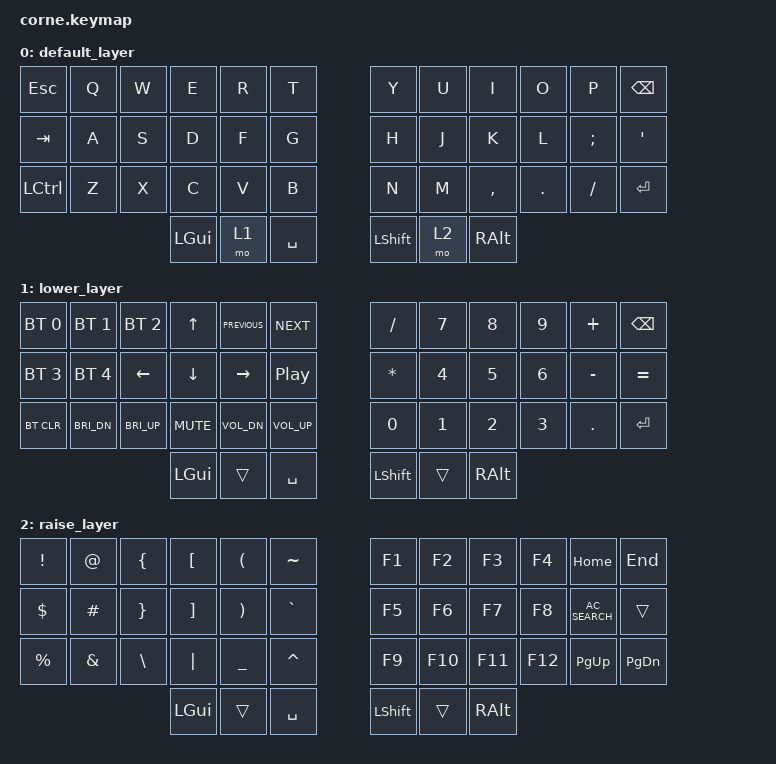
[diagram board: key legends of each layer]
/*
 * Copyright (c) 2020 The ZMK Contributors
 *
 * SPDX-License-Identifier: MIT
 */

#include <behaviors.dtsi>
#include <dt-bindings/zmk/bt.h>
#include <dt-bindings/zmk/keys.h>

/ {
    keymap {
        compatible = "zmk,keymap";

        default_layer {
            // -----------------------------------------------------------------------------------------
            // |  TAB |  Q  |  W  |  E  |  R  |  T  |   |  Y  |  U   |  I  |  O  |  P  | BKSP |
            // | CTRL |  A  |  S  |  D  |  F  |  G  |   |  H  |  J   |  K  |  L  |  ;  |  '   |
            // | SHFT |  Z  |  X  |  C  |  V  |  B  |   |  N  |  M   |  ,  |  .  |  /  | ESC  |
            //                    | GUI | LWR | SPC |   | ENT | RSE  | ALT |

            bindings = <
&kp ESC           &kp Q  &kp W  &kp E     &kp R  &kp T        &kp Y           &kp U  &kp I      &kp O    &kp P     &kp BSPC
&kp TAB           &kp A  &kp S  &kp D     &kp F  &kp G        &kp H           &kp J  &kp K      &kp L    &kp SEMI  &kp SQT
&kp LEFT_CONTROL  &kp Z  &kp X  &kp C     &kp V  &kp B        &kp N           &kp M  &kp COMMA  &kp DOT  &kp FSLH  &kp ENTER
                                &kp LGUI  &mo 1  &kp SPACE    &kp LEFT_SHIFT  &mo 2  &kp RALT
            >;
        };

        lower_layer {
            // -----------------------------------------------------------------------------------------
            // |  TAB |  1  |  2  |  3  |  4  |  5  |   |  6  |  7  |  8  |  9  |  0  | BKSP |
            // | BTCLR| BT1 | BT2 | BT3 | BT4 | BT5 |   | LFT | DWN |  UP | RGT |     |      |
            // | SHFT |     |     |     |     |     |   |     |     |     |     |     |      |
            //                    | GUI |     | SPC |   | ENT |     | ALT |

            bindings = <
&bt BT_SEL 0  &bt BT_SEL 1  &bt BT_SEL 2  &kp UP      &kp C_PREVIOUS  &kp C_NEXT          &kp SLASH       &kp N7  &kp N8    &kp N9  &kp PLUS   &kp BSPC
&bt BT_SEL 3  &bt BT_SEL 4  &kp LEFT      &kp DOWN    &kp RIGHT       &kp C_PLAY_PAUSE    &kp ASTRK       &kp N4  &kp N5    &kp N6  &kp MINUS  &kp EQUAL
&bt BT_CLR    &kp C_BRI_DN  &kp C_BRI_UP  &kp K_MUTE  &kp C_VOL_DN    &kp C_VOL_UP        &kp N0          &kp N1  &kp N2    &kp N3  &kp DOT    &kp ENTER
                                          &kp LGUI    &trans          &kp SPACE           &kp LEFT_SHIFT  &trans  &kp RALT
            >;
        };

        raise_layer {
            // -----------------------------------------------------------------------------------------
            // |  TAB |  !  |  @  |  #  |  $  |  %  |   |  ^  |  &  |  *  |  (  |  )  | BKSP |
            // | CTRL |     |     |     |     |     |   |  -  |  =  |  [  |  ]  |  \  |  `   |
            // | SHFT |     |     |     |     |     |   |  _  |  +  |  {  |  }  | "|" |  ~   |
            //                    | GUI |     | SPC |   | ENT |     | ALT |

            bindings = <
&kp EXCL     &kp AT         &kp LEFT_BRACE   &kp LEFT_BRACKET   &kp LEFT_PARENTHESIS   &kp TILDE    &kp F1          &kp F2   &kp F3    &kp F4   &kp HOME         &kp END
&kp DOLLAR   &kp HASH       &kp RIGHT_BRACE  &kp RIGHT_BRACKET  &kp RIGHT_PARENTHESIS  &kp GRAVE    &kp F5          &kp F6   &kp F7    &kp F8   &kp C_AC_SEARCH  &trans
&kp PERCENT  &kp AMPERSAND  &kp BACKSLASH    &kp PIPE           &kp UNDERSCORE         &kp CARET    &kp F9          &kp F10  &kp F11   &kp F12  &kp PAGE_UP      &kp PAGE_DOWN
                                             &kp LGUI           &trans                 &kp SPACE    &kp LEFT_SHIFT  &trans   &kp RALT
            >;
        };
    };
};
